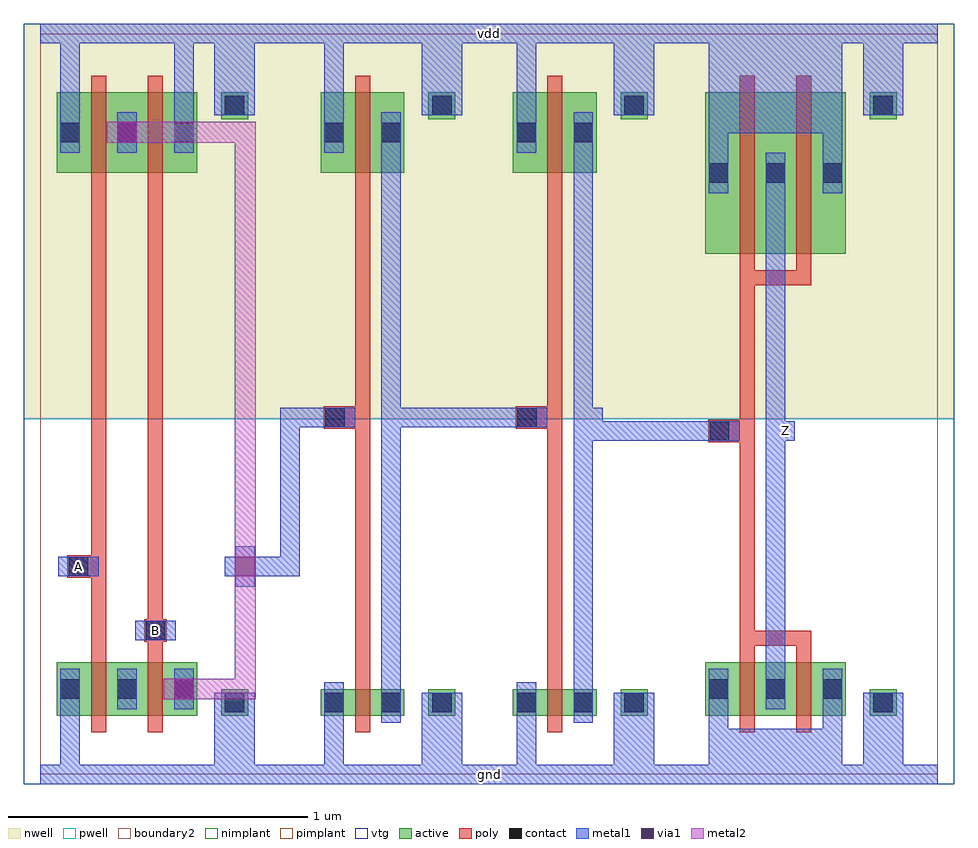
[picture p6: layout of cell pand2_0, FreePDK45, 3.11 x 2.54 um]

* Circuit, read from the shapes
.subckt pand2_0 A B Z gnd vdd
M1 pnand2_1_0/nmos_m1_w0_180_a_p_2/D A gnd gnd nfet w=0.18u l=0.05u
M2 pdriver_1_1/A B pnand2_1_0/nmos_m1_w0_180_a_p_2/D gnd nfet w=0.18u l=0.05u
M3 pdriver_1_1/pinv_5_1/A pdriver_1_1/A gnd gnd nfet w=0.09u l=0.05u
M4 pdriver_1_1/pinv_7_2/A pdriver_1_1/pinv_5_1/A gnd gnd nfet w=0.09u l=0.05u
M5 Z pdriver_1_1/pinv_7_2/A gnd gnd nfet w=0.18u l=0.05u m=2
M6 pdriver_1_1/A A vdd vdd pfet w=0.27u l=0.05u
M7 vdd B pdriver_1_1/A vdd pfet w=0.27u l=0.05u
M8 pdriver_1_1/pinv_5_1/A pdriver_1_1/A vdd vdd pfet w=0.27u l=0.05u
M9 pdriver_1_1/pinv_7_2/A pdriver_1_1/pinv_5_1/A vdd vdd pfet w=0.27u l=0.05u
M10 Z pdriver_1_1/pinv_7_2/A vdd vdd pfet w=0.54u l=0.05u m=2
.ends

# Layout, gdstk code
import gdstk
lib = gdstk.Library(unit=1e-6, precision=5e-10)
def R(c, l, rs):  # rectangles x0, y0, x1, y1
    for r in rs: c.add(gdstk.rectangle(r[:2], r[2:], *l))
active = (1, 0)
pwell = (2, 0)
nwell = (3, 0)
nimplant = (4, 0)
pimplant = (5, 0)
vtg = (6, 0)
poly = (9, 0)
contact = (10, 0)
metal1 = (11, 0)
via1 = (12, 0)
metal2 = (13, 0)
boundary2 = (239, 0)

contact_11 = lib.new_cell('contact_11')
R(contact_11, active, [(0,0.0225,0.09,0.1125)])
R(contact_11, nwell, [(-0.055,-0.0325,0.145,0.1675)])
R(contact_11, pimplant, [(0,0.0225,0.09,0.1125)])
R(contact_11, contact, [(0.0125,0.035,0.0775,0.1)])
R(contact_11, metal1, [(0.0125,0,0.0775,0.135)])

pmos_m1_w0_270_a_p = lib.new_cell('pmos_m1_w0_270_a_p')
R(pmos_m1_w0_270_a_p, active, [(0,0,0.28,0.27)])
R(pmos_m1_w0_270_a_p, nwell, [(-0.055,-0.055,0.335,0.325)])
R(pmos_m1_w0_270_a_p, pimplant, [(0,0,0.28,0.27)])
R(pmos_m1_w0_270_a_p, vtg, [(-0.055,-0.055,0.335,0.325)])
R(pmos_m1_w0_270_a_p, poly, [(0.115,-0.055,0.165,0.325), (0.115,-0.055,0.165,0.325)])
R(pmos_m1_w0_270_a_p, metal1, [(0.0125,0.0675,0.0775,0.2025), (0.2025,0.0675,0.2675,0.2025)])
R(pmos_m1_w0_270_a_p, boundary2, [(-0.055,-0.055,0.335,0.325)])
pmos_m1_w0_270_a_p.add(gdstk.Reference(contact_11, (0,0.0675)))
pmos_m1_w0_270_a_p.add(gdstk.Reference(contact_11, (0.19,0.0675)))
pmos_m1_w0_270_a_p.add(gdstk.Label('G', (0.14,0.135), layer=9, texttype=0))
pmos_m1_w0_270_a_p.add(gdstk.Label('S', (0.045,0.135), layer=11, texttype=0))
pmos_m1_w0_270_a_p.add(gdstk.Label('D', (0.235,0.135), layer=11, texttype=0))

contact_16 = lib.new_cell('contact_16')
R(contact_16, active, [(0,0.0225,0.09,0.1125)])
R(contact_16, pwell, [(-0.055,-0.0325,0.145,0.1675)])
R(contact_16, nimplant, [(0,0.0225,0.09,0.1125)])
R(contact_16, contact, [(0.0125,0.035,0.0775,0.1)])
R(contact_16, metal1, [(0.0125,0,0.0775,0.135)])

nmos_m1_w0_180_a_p = lib.new_cell('nmos_m1_w0_180_a_p')
R(nmos_m1_w0_180_a_p, active, [(0,0,0.28,0.18)])
R(nmos_m1_w0_180_a_p, pwell, [(-0.055,-0.055,0.335,0.235)])
R(nmos_m1_w0_180_a_p, nimplant, [(0,0,0.28,0.18)])
R(nmos_m1_w0_180_a_p, vtg, [(-0.055,-0.055,0.335,0.235)])
R(nmos_m1_w0_180_a_p, poly, [(0.115,-0.055,0.165,0.235), (0.115,-0.055,0.165,0.235)])
R(nmos_m1_w0_180_a_p, metal1, [(0.0125,0.0225,0.0775,0.1575), (0.2025,0.0225,0.2675,0.1575)])
R(nmos_m1_w0_180_a_p, boundary2, [(-0.055,-0.055,0.335,0.235)])
nmos_m1_w0_180_a_p.add(gdstk.Reference(contact_16, (0,0.0225)))
nmos_m1_w0_180_a_p.add(gdstk.Reference(contact_16, (0.19,0.0225)))
nmos_m1_w0_180_a_p.add(gdstk.Label('G', (0.14,0.09), layer=9, texttype=0))
nmos_m1_w0_180_a_p.add(gdstk.Label('S', (0.045,0.09), layer=11, texttype=0))
nmos_m1_w0_180_a_p.add(gdstk.Label('D', (0.235,0.09), layer=11, texttype=0))

contact_13 = lib.new_cell('contact_13')
R(contact_13, active, [(0.0225,0,0.1125,0.09)])
R(contact_13, nwell, [(-0.0325,-0.055,0.1675,0.145)])
R(contact_13, nimplant, [(0.0225,0,0.1125,0.09)])
R(contact_13, contact, [(0.035,0.0125,0.1,0.0775)])
R(contact_13, metal1, [(0,0.0125,0.135,0.0775)])

contact_17 = lib.new_cell('contact_17')
R(contact_17, active, [(0.0225,0,0.1125,0.09)])
R(contact_17, pwell, [(-0.0325,-0.055,0.1675,0.145)])
R(contact_17, pimplant, [(0.0225,0,0.1125,0.09)])
R(contact_17, contact, [(0.035,0.0125,0.1,0.0775)])
R(contact_17, metal1, [(0,0.0125,0.135,0.0775)])

contact_12 = lib.new_cell('contact_12')
R(contact_12, poly, [(0.03,0,0.105,0.075)])
R(contact_12, contact, [(0.035,0.005,0.1,0.07)])
R(contact_12, metal1, [(0,0.005,0.135,0.07)])

contact_20 = lib.new_cell('contact_20')
R(contact_20, metal1, [(0.035,0,0.1,0.135)])
R(contact_20, via1, [(0.035,0.035,0.1,0.1)])
R(contact_20, metal2, [(0,0.0325,0.135,0.1025)])

contact_19 = lib.new_cell('contact_19')
R(contact_19, metal1, [(0,0.035,0.135,0.1)])
R(contact_19, via1, [(0.035,0.035,0.1,0.1)])
R(contact_19, metal2, [(0.0325,0,0.1025,0.135)])

pnand2_1 = lib.new_cell('pnand2_1')
R(pnand2_1, pwell, [(-0.055,-0.0325,0.9375,1.1875)])
R(pnand2_1, nwell, [(-0.055,1.1875,0.9375,2.5075)])
R(pnand2_1, vtg, [(-0.055,-0.0325,0.9375,1.1875), (-0.055,1.1875,0.9375,2.5075)])
R(pnand2_1, poly, [(0.17,0.43,0.22,1.955), (0.36,0.43,0.41,1.955), (0.36,0.4425,0.385,0.5175), (0.1275,0.6575,0.17,0.7325)])
R(pnand2_1, metal1, [(0,-0.0325,0.8825,0.0325), (0.0675,-0.0325,0.1325,0.2175), (0.5825,0,0.7175,0.24), (0.3175,0.4475,0.4525,0.5125), (0.6525,0.6275,0.7175,0.7625), (0.06,0.6625,0.195,0.7275), (0.0675,2.0775,0.1325,2.5075), (0.4475,2.0775,0.5125,2.5075), (0.5825,2.235,0.7175,2.475), (0,2.4425,0.8825,2.5075)])
R(pnand2_1, metal2, [(0.48,0.25,0.685,0.32), (0.65,0.25,0.72,0.32), (0.65,0.285,0.72,0.695), (0.65,0.695,0.72,2.145), (0.29,2.11,0.685,2.18), (0.65,2.11,0.72,2.18)])
R(pnand2_1, boundary2, [(0,0,0.8825,2.475)])
pnand2_1.add(gdstk.Reference(pmos_m1_w0_270_a_p, (0.055,2.01)))
pnand2_1.add(gdstk.Reference(pmos_m1_w0_270_a_p, (0.245,2.01)))
pnand2_1.add(gdstk.Reference(nmos_m1_w0_180_a_p, (0.055,0.195)))
pnand2_1.add(gdstk.Reference(nmos_m1_w0_180_a_p, (0.245,0.195)))
pnand2_1.add(gdstk.Reference(contact_13, (0.5825,2.19)))
pnand2_1.add(gdstk.Reference(contact_17, (0.5825,0.195)))
pnand2_1.add(gdstk.Reference(contact_12, (0.3175,0.4425)))
pnand2_1.add(gdstk.Reference(contact_12, (0.06,0.6575)))
pnand2_1.add(gdstk.Reference(contact_20, (0.2225,2.0775)))
pnand2_1.add(gdstk.Reference(contact_20, (0.4125,0.2175)))
pnand2_1.add(gdstk.Reference(contact_19, (0.6175,0.6275)))
pnand2_1.add(gdstk.Label('gnd', (0.4415,0), layer=11, texttype=0))
pnand2_1.add(gdstk.Label('vdd', (0.4415,2.475), layer=11, texttype=0))
pnand2_1.add(gdstk.Label('B', (0.385,0.48), layer=11, texttype=0))
pnand2_1.add(gdstk.Label('A', (0.1275,0.695), layer=11, texttype=0))
pnand2_1.add(gdstk.Label('Z', (0.685,0.695), layer=11, texttype=0))

nmos_m1_w0_090_a_p = lib.new_cell('nmos_m1_w0_090_a_p')
R(nmos_m1_w0_090_a_p, active, [(0,0,0.28,0.09)])
R(nmos_m1_w0_090_a_p, pwell, [(-0.055,-0.055,0.335,0.145)])
R(nmos_m1_w0_090_a_p, nimplant, [(0,0,0.28,0.09)])
R(nmos_m1_w0_090_a_p, vtg, [(-0.055,-0.055,0.335,0.145)])
R(nmos_m1_w0_090_a_p, poly, [(0.115,-0.055,0.165,0.145), (0.115,-0.055,0.165,0.145)])
R(nmos_m1_w0_090_a_p, metal1, [(0.0125,-0.0225,0.0775,0.1125), (0.2025,-0.0225,0.2675,0.1125)])
R(nmos_m1_w0_090_a_p, boundary2, [(-0.055,-0.055,0.335,0.145)])
nmos_m1_w0_090_a_p.add(gdstk.Reference(contact_16, (0,-0.0225)))
nmos_m1_w0_090_a_p.add(gdstk.Reference(contact_16, (0.19,-0.0225)))
nmos_m1_w0_090_a_p.add(gdstk.Label('G', (0.14,0.045), layer=9, texttype=0))
nmos_m1_w0_090_a_p.add(gdstk.Label('S', (0.045,0.045), layer=11, texttype=0))
nmos_m1_w0_090_a_p.add(gdstk.Label('D', (0.235,0.045), layer=11, texttype=0))

pinv_5 = lib.new_cell('pinv_5')
R(pinv_5, pwell, [(-0.055,-0.0325,0.6975,1.1875)])
R(pinv_5, nwell, [(-0.055,1.1875,0.6975,2.5075)])
R(pinv_5, vtg, [(-0.055,-0.0325,0.6975,1.1875), (-0.055,1.1875,0.6975,2.5075)])
R(pinv_5, poly, [(0.17,0.34,0.22,1.955), (0.1025,1.155,0.17,1.23)])
R(pinv_5, metal1, [(0,-0.0325,0.6425,0.0325), (0.0675,-0.0325,0.1325,0.1725), (0.3925,0,0.5275,0.24), (0.2575,0.1725,0.3225,2.2125), (0.035,1.16,0.17,1.225), (0.29,1.16,0.355,1.225), (0.0675,2.0775,0.1325,2.5075), (0.3925,2.235,0.5275,2.475), (0,2.4425,0.6425,2.5075)])
R(pinv_5, boundary2, [(0,0,0.6425,2.475)])
pinv_5.add(gdstk.Reference(pmos_m1_w0_270_a_p, (0.055,2.01)))
pinv_5.add(gdstk.Reference(nmos_m1_w0_090_a_p, (0.055,0.195)))
pinv_5.add(gdstk.Reference(contact_13, (0.3925,2.19)))
pinv_5.add(gdstk.Reference(contact_17, (0.3925,0.195)))
pinv_5.add(gdstk.Reference(contact_12, (0.035,1.155)))
pinv_5.add(gdstk.Label('gnd', (0.321,0), layer=11, texttype=0))
pinv_5.add(gdstk.Label('vdd', (0.321,2.475), layer=11, texttype=0))
pinv_5.add(gdstk.Label('A', (0.1025,1.1925), layer=11, texttype=0))
pinv_5.add(gdstk.Label('Z', (0.3225,1.1925), layer=11, texttype=0))

pmos_m2_w0_540_a_p = lib.new_cell('pmos_m2_w0_540_a_p')
R(pmos_m2_w0_540_a_p, active, [(0,0,0.47,0.54)])
R(pmos_m2_w0_540_a_p, nwell, [(-0.055,-0.055,0.525,0.595)])
R(pmos_m2_w0_540_a_p, pimplant, [(0,0,0.47,0.54)])
R(pmos_m2_w0_540_a_p, vtg, [(-0.055,-0.055,0.525,0.595)])
R(pmos_m2_w0_540_a_p, poly, [(0.115,-0.105,0.355,-0.055), (0.115,-0.055,0.165,0.595), (0.305,-0.055,0.355,0.595)])
R(pmos_m2_w0_540_a_p, metal1, [(0.2025,0.2025,0.2675,0.3375), (0.0125,0.27,0.0775,0.435), (0.3925,0.27,0.4575,0.435), (0.0125,0.4025,0.4575,0.4675)])
R(pmos_m2_w0_540_a_p, boundary2, [(-0.055,-0.055,0.525,0.595)])
pmos_m2_w0_540_a_p.add(gdstk.Reference(contact_11, (0,0.2025)))
pmos_m2_w0_540_a_p.add(gdstk.Reference(contact_11, (0.38,0.2025)))
pmos_m2_w0_540_a_p.add(gdstk.Reference(contact_11, (0.19,0.2025)))
pmos_m2_w0_540_a_p.add(gdstk.Label('G', (0.235,-0.08), layer=9, texttype=0))
pmos_m2_w0_540_a_p.add(gdstk.Label('S', (0.235,0.435), layer=11, texttype=0))
pmos_m2_w0_540_a_p.add(gdstk.Label('D', (0.235,0.27), layer=11, texttype=0))

nmos_m2_w0_180_a_p = lib.new_cell('nmos_m2_w0_180_a_p')
R(nmos_m2_w0_180_a_p, active, [(0,0,0.47,0.18)])
R(nmos_m2_w0_180_a_p, pwell, [(-0.055,-0.055,0.525,0.235)])
R(nmos_m2_w0_180_a_p, nimplant, [(0,0,0.47,0.18)])
R(nmos_m2_w0_180_a_p, vtg, [(-0.055,-0.055,0.525,0.235)])
R(nmos_m2_w0_180_a_p, poly, [(0.115,-0.055,0.165,0.235), (0.305,-0.055,0.355,0.235), (0.115,0.235,0.355,0.285)])
R(nmos_m2_w0_180_a_p, metal1, [(0.0125,-0.1075,0.4575,-0.0425), (0.0125,-0.075,0.0775,0.09), (0.3925,-0.075,0.4575,0.09), (0.2025,0.0225,0.2675,0.1575)])
R(nmos_m2_w0_180_a_p, boundary2, [(-0.055,-0.075,0.525,0.235)])
nmos_m2_w0_180_a_p.add(gdstk.Reference(contact_16, (0,0.0225)))
nmos_m2_w0_180_a_p.add(gdstk.Reference(contact_16, (0.38,0.0225)))
nmos_m2_w0_180_a_p.add(gdstk.Reference(contact_16, (0.19,0.0225)))
nmos_m2_w0_180_a_p.add(gdstk.Label('G', (0.235,0.26), layer=9, texttype=0))
nmos_m2_w0_180_a_p.add(gdstk.Label('S', (0.235,-0.075), layer=11, texttype=0))
nmos_m2_w0_180_a_p.add(gdstk.Label('D', (0.235,0.09), layer=11, texttype=0))

pinv_7 = lib.new_cell('pinv_7')
R(pinv_7, pwell, [(-0.055,-0.0325,0.8875,1.1875)])
R(pinv_7, nwell, [(-0.055,1.1875,0.8875,2.5075)])
R(pinv_7, vtg, [(-0.055,-0.0325,0.8875,1.1875), (-0.055,1.1875,0.8875,2.5075)])
R(pinv_7, poly, [(0.17,0.48,0.22,1.635), (0.1025,1.11,0.17,1.185)])
R(pinv_7, metal1, [(0,-0.0325,0.8325,0.0325), (0.0675,-0.0325,0.5125,0.0875), (0.5825,0,0.7175,0.24), (0.2575,0.2175,0.3225,2.0775), (0.035,1.115,0.17,1.18), (0.29,1.115,0.355,1.18), (0.0675,2.1425,0.5125,2.5075), (0.5825,2.235,0.7175,2.475), (0,2.4425,0.8325,2.5075)])
R(pinv_7, boundary2, [(0,0,0.8325,2.475)])
pinv_7.add(gdstk.Reference(pmos_m2_w0_540_a_p, (0.055,1.74)))
pinv_7.add(gdstk.Reference(nmos_m2_w0_180_a_p, (0.055,0.195)))
pinv_7.add(gdstk.Reference(contact_13, (0.5825,2.19)))
pinv_7.add(gdstk.Reference(contact_17, (0.5825,0.195)))
pinv_7.add(gdstk.Reference(contact_12, (0.035,1.11)))
pinv_7.add(gdstk.Label('gnd', (0.416,0), layer=11, texttype=0))
pinv_7.add(gdstk.Label('vdd', (0.416,2.475), layer=11, texttype=0))
pinv_7.add(gdstk.Label('A', (0.1025,1.1475), layer=11, texttype=0))
pinv_7.add(gdstk.Label('Z', (0.3225,1.1475), layer=11, texttype=0))

pdriver_1 = lib.new_cell('pdriver_1')
R(pdriver_1, metal1, [(0,-0.0325,0.065,0.0325), (0.9325,1.115,0.9975,1.18), (0.965,1.115,1.3875,1.18), (1.575,1.115,1.64,1.18), (0.9325,1.1475,0.9975,1.1925), (0.035,1.16,0.17,1.225), (0.3225,1.16,0.745,1.225), (0,2.4425,0.065,2.5075)])
R(pdriver_1, boundary2, [(0,0,2.1175,2.475)])
pdriver_1.add(gdstk.Reference(pinv_5, (0,0)))
pdriver_1.add(gdstk.Reference(pinv_5, (0.6425,0)))
pdriver_1.add(gdstk.Reference(pinv_7, (1.285,0)))
pdriver_1.add(gdstk.Label('vdd', (0.0325,2.475), layer=11, texttype=0))
pdriver_1.add(gdstk.Label('gnd', (0.0325,0), layer=11, texttype=0))
pdriver_1.add(gdstk.Label('Z', (1.6075,1.1475), layer=11, texttype=0))
pdriver_1.add(gdstk.Label('A', (0.1025,1.1925), layer=11, texttype=0))

pand2_0 = lib.new_cell('pand2_0')
R(pand2_0, metal1, [(0,-0.0325,3,0.0325), (0.3175,0.4475,0.4525,0.5125), (0.06,0.6625,0.195,0.7275), (0.685,0.6625,0.835,0.7275), (0.8025,0.6625,0.8675,0.7275), (0.8025,0.695,0.8675,1.1925), (2.4575,1.115,2.5225,1.18), (0.8025,1.16,0.8675,1.225), (0.835,1.16,0.985,1.225), (0,2.4425,3,2.5075)])
R(pand2_0, boundary2, [(0,0,3,2.475)])
pand2_0.add(gdstk.Reference(pnand2_1, (0,0)))
pand2_0.add(gdstk.Reference(pdriver_1, (0.8825,0)))
pand2_0.add(gdstk.Label('vdd', (1.5,2.475), layer=11, texttype=0))
pand2_0.add(gdstk.Label('gnd', (1.5,0), layer=11, texttype=0))
pand2_0.add(gdstk.Label('Z', (2.49,1.1475), layer=11, texttype=0))
pand2_0.add(gdstk.Label('A', (0.1275,0.695), layer=11, texttype=0))
pand2_0.add(gdstk.Label('B', (0.385,0.48), layer=11, texttype=0))

lib.write_gds('pand2_0.gds')
